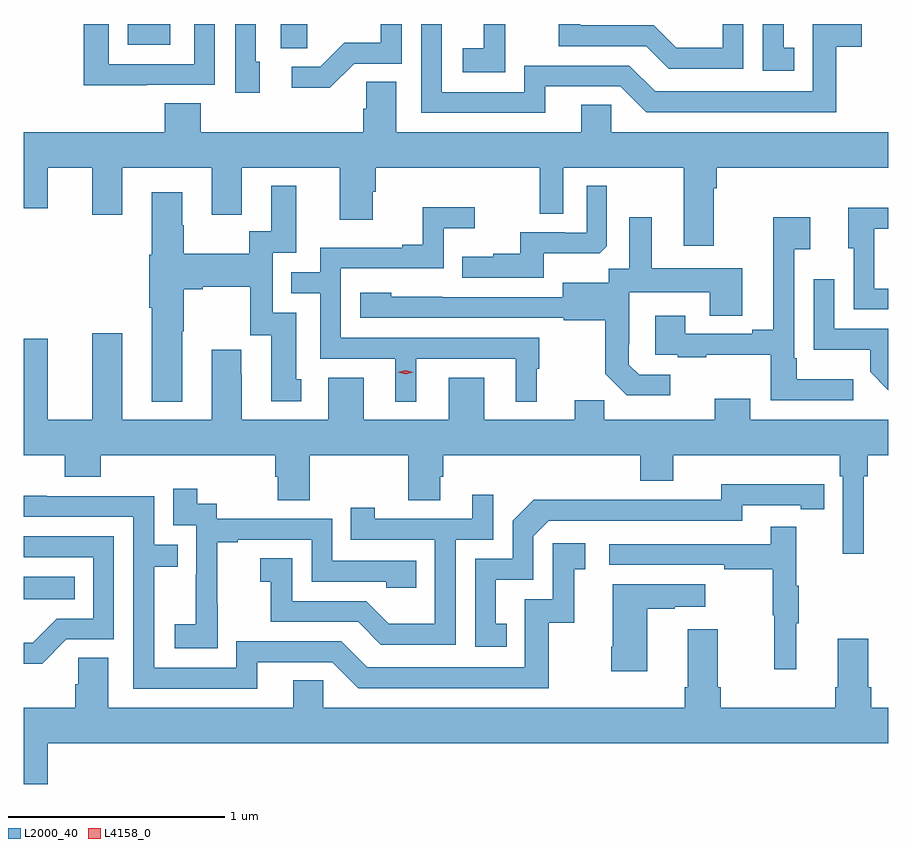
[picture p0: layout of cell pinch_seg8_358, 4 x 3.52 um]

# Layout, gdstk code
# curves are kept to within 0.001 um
import gdstk
lib = gdstk.Library(unit=1e-6, precision=1e-09)
def R(c, l, rs):  # rectangles x0, y0, x1, y1
    for r in rs: c.add(gdstk.rectangle(r[:2], r[2:], *l))
def P(c, l, *ps):  # polygons
    for p in ps: c.add(gdstk.Polygon(p, *l))
L2000_40 = (2000, 40)
L4158_0 = (4158, 0)

pinch_seg8_358 = lib.new_cell('pinch_seg8_358')
R(pinch_seg8_358, L2000_40, [(452.772,1099.85,453.008,1099.954), (453.962,1102.399,454.083,1102.512), (453.254,1102.415,453.451,1102.512)])
P(pinch_seg8_358, L2000_40, [(456.102,1102.512),(456.006,1102.512),(456.006,1102.402),(455.792,1102.402),(455.688,1102.506),(455.346,1102.506),(455.346,1102.512),(455.248,1102.512),(455.248,1102.41),(455.651,1102.41),(455.756,1102.305),(456.102,1102.305)],
  [(454.302,1102.329),(454.521,1102.329),(454.521,1102.512),(454.425,1102.512),(454.425,1102.425),(454.256,1102.425),(454.145,1102.314),(454.011,1102.314),(454.011,1102.217),(454.189,1102.217)],
  [(456.338,1102.401),(456.289,1102.401),(456.289,1102.512),(456.192,1102.512),(456.192,1102.296),(456.338,1102.296)],
  [(455.001,1102.495),(455,1102.495),(455,1102.512),(454.901,1102.512),(454.901,1102.399),(454.803,1102.399),(454.803,1102.289),(455.001,1102.289)],
  [(455.185,1102.224),(455.532,1102.224),(455.652,1102.104),(456.532,1102.104),(456.532,1102.407),(456.65,1102.407),(456.65,1102.512),(456.423,1102.512),(456.423,1102.2),(455.694,1102.2),(455.574,1102.32),(455.088,1102.32),(455.088,1102.197),(454.707,1102.197),(454.707,1102.512),(454.611,1102.512),(454.611,1102.101),(455.185,1102.101)],
  [(453.865,1102.338),(453.846,1102.338),(453.846,1102.512),(453.75,1102.512),(453.75,1102.194),(453.865,1102.194)],
  [(453.341,1102.23),(453.657,1102.23),(453.657,1102.512),(453.561,1102.512),(453.561,1102.326),(453.165,1102.326),(453.165,1102.512),(453.049,1102.512),(453.049,1102.229),(453.341,1102.229)],
  [(455.965,1101.752),(455.978,1101.752),(455.978,1101.848),(456.772,1101.848),(456.772,1102.012),(455.49,1102.012),(455.49,1102.139),(455.351,1102.139),(455.351,1102.012),(454.495,1102.012),(454.495,1102.244),(454.356,1102.244),(454.356,1102.121),(454.343,1102.121),(454.343,1102.012),(453.59,1102.012),(453.59,1102.145),(453.425,1102.145),(453.425,1102.012),(452.772,1102.012),(452.772,1101.66),(452.884,1101.66),(452.884,1101.848),(453.089,1101.848),(453.089,1101.63),(453.229,1101.63),(453.229,1101.848),(453.641,1101.848),(453.641,1101.63),(453.781,1101.63),(453.781,1101.848),(454.235,1101.848),(454.235,1101.606),(454.387,1101.606),(454.387,1101.735),(454.4,1101.735),(454.4,1101.848),(455.16,1101.848),(455.16,1101.634),(455.268,1101.634),(455.268,1101.848),(455.825,1101.848),(455.825,1101.486),(455.965,1101.486)],
  [(455.179,1101.452),(455.437,1101.452),(455.469,1101.483),(455.469,1101.763),(455.376,1101.763),(455.376,1101.546),(455.276,1101.546),(455.276,1101.549),(455.069,1101.549),(455.069,1101.448),(454.945,1101.448),(454.945,1101.436),(454.801,1101.436),(454.801,1101.339),(455.179,1101.339)],
  [(453.505,1101.091),(453.513,1101.091),(453.513,1101.284),(453.601,1101.284),(453.601,1101.296),(453.821,1101.296),(453.821,1101.072),(453.917,1101.072),(453.917,1100.766),(454.057,1100.766),(454.057,1100.868),(454.033,1100.868),(454.033,1101.177),(453.924,1101.177),(453.924,1101.453),(454.033,1101.453),(454.033,1101.763),(453.917,1101.763),(453.917,1101.554),(453.816,1101.554),(453.816,1101.448),(453.513,1101.448),(453.513,1101.582),(453.505,1101.582),(453.505,1101.733),(453.365,1101.733),(453.365,1101.444),(453.353,1101.444),(453.353,1101.2),(453.365,1101.2),(453.365,1100.765),(453.505,1100.765)],
  [(454.588,1100.964),(455.048,1100.964),(455.048,1100.765),(455.146,1100.765),(455.146,1100.916),(455.158,1100.916),(455.158,1101.06),(454.239,1101.06),(454.239,1101.381),(454.716,1101.381),(454.716,1101.566),(454.858,1101.566),(454.858,1101.665),(454.618,1101.665),(454.618,1101.49),(454.523,1101.49),(454.523,1101.477),(454.143,1101.477),(454.143,1101.363),(454.009,1101.363),(454.009,1101.267),(454.143,1101.267),(454.143,1100.964),(454.49,1100.964),(454.49,1100.765),(454.588,1100.765)],
  [(456.772,1101.288),(456.708,1101.288),(456.708,1101.564),(456.772,1101.564),(456.772,1101.662),(456.587,1101.662),(456.587,1101.474),(456.612,1101.474),(456.612,1101.192),(456.772,1101.192)],
  [(455.764,1100.889),(455.619,1100.889),(455.572,1100.936),(455.572,1101.031),(455.574,1101.031),(455.574,1101.272),(455.945,1101.272),(455.945,1101.163),(456.097,1101.163),(456.097,1101.382),(455.677,1101.382),(455.677,1101.619),(455.573,1101.619),(455.573,1101.38),(455.478,1101.38),(455.478,1101.316),(455.267,1101.316),(455.267,1101.249),(454.473,1101.25),(454.473,1101.268),(454.329,1101.268),(454.329,1101.153),(455.271,1101.153),(455.271,1101.141),(455.463,1101.141),(455.463,1100.895),(455.563,1100.795),(455.764,1100.795)],
  [(456.61,1100.869),(456.349,1100.869),(456.349,1100.965),(456.336,1100.965),(456.336,1101.47),(456.412,1101.47),(456.412,1101.619),(456.239,1101.619),(456.239,1101.097),(456.143,1101.097),(456.143,1101.078),(455.833,1101.078),(455.833,1101.163),(455.693,1101.163),(455.693,1100.982),(455.797,1100.982),(455.797,1100.97),(455.929,1100.97),(455.929,1100.981),(456.228,1100.981),(456.228,1100.772),(456.61,1100.772)],
  [(456.772,1101.102),(456.522,1101.102),(456.522,1101.331),(456.426,1101.331),(456.426,1101.005),(456.688,1101.005),(456.688,1100.903),(456.772,1100.818)],
  [(455.969,1100.779),(455.969,1100.68),(455.459,1100.68),(455.459,1100.771),(455.321,1100.771),(455.321,1100.68),(454.903,1100.68),(454.903,1100.875),(454.739,1100.875),(454.739,1100.68),(454.345,1100.68),(454.345,1100.875),(454.181,1100.875),(454.181,1100.68),(453.781,1100.68),(453.781,1100.891),(453.778,1100.891),(453.778,1101.004),(453.641,1101.004),(453.641,1100.68),(453.229,1100.68),(453.229,1101.082),(453.089,1101.082),(453.089,1100.68),(452.884,1100.68),(452.884,1101.055),(452.772,1101.055),(452.772,1100.516),(452.963,1100.516),(452.963,1100.417),(453.128,1100.417),(453.128,1100.516),(453.935,1100.516),(453.935,1100.418),(453.947,1100.418),(453.947,1100.308),(454.095,1100.308),(454.095,1100.516),(454.552,1100.516),(454.552,1100.308),(454.699,1100.308),(454.699,1100.418),(454.712,1100.418),(454.712,1100.516),(455.624,1100.516),(455.624,1100.399),(455.776,1100.399),(455.776,1100.516),(456.548,1100.516),(456.548,1100.42),(456.561,1100.42),(456.561,1100.061),(456.658,1100.061),(456.658,1100.42),(456.677,1100.42),(456.677,1100.516),(456.772,1100.516),(456.772,1100.68),(456.133,1100.68),(456.133,1100.779)],
  [(455.006,1099.737),(454.957,1099.737),(454.957,1099.941),(455.13,1099.941),(455.13,1100.142),(455.202,1100.214),(456.096,1100.214),(456.096,1100.286),(456.368,1100.286),(456.368,1100.266),(456.476,1100.266),(456.476,1100.382),(456,1100.383),(456,1100.31),(455.54,1100.31),(455.54,1100.312),(455.132,1100.312),(455.034,1100.214),(455.034,1100.037),(454.86,1100.037),(454.86,1099.632),(455.006,1099.632)],
  [(453.669,1099.831),(453.668,1099.831),(453.668,1100.115),(453.763,1100.115),(453.763,1100.127),(454.104,1100.127),(454.104,1099.932),(454.449,1099.932),(454.449,1099.905),(454.589,1099.905),(454.589,1100.028),(454.2,1100.028),(454.2,1100.223),(453.666,1100.223),(453.666,1100.292),(453.574,1100.292),(453.574,1100.362),(453.465,1100.362),(453.465,1100.193),(453.57,1100.193),(453.57,1099.964),(453.569,1099.964),(453.569,1099.735),(453.471,1099.735),(453.471,1099.625),(453.669,1099.625)],
  [(454.77,1100.127),(454.944,1100.127),(454.944,1100.335),(454.847,1100.335),(454.847,1100.223),(454.396,1100.223),(454.396,1100.275),(454.285,1100.275),(454.285,1100.127),(454.674,1100.127),(454.674,1099.738),(454.46,1099.738),(454.356,1099.842),(454.014,1099.842),(454.014,1100.041),(453.867,1100.041),(453.867,1099.931),(453.916,1099.931),(453.916,1099.746),(454.319,1099.746),(454.424,1099.641),(454.77,1099.641)],
  [(453.853,1099.56),(454.2,1099.56),(454.32,1099.44),(455.2,1099.44),(455.2,1099.743),(455.318,1099.743),(455.318,1099.989),(455.371,1099.989),(455.371,1100.11),(455.22,1100.11),(455.22,1099.851),(455.091,1099.851),(455.091,1099.536),(454.362,1099.536),(454.242,1099.656),(453.756,1099.656),(453.756,1099.533),(453.375,1099.533),(453.375,1100.002),(453.485,1100.002),(453.485,1100.103),(453.375,1100.103),(453.375,1100.328),(452.879,1100.328),(452.879,1100.33),(452.772,1100.33),(452.772,1100.232),(453.279,1100.232),(453.279,1099.437),(453.853,1099.437)],
  [(456.347,1099.739),(456.358,1099.739),(456.358,1099.913),(456.347,1099.913),(456.347,1100.185),(456.229,1100.185),(456.229,1100.106),(455.481,1100.106),(455.481,1100.01),(456.013,1100.01),(456.013,1099.99),(456.237,1099.99),(456.237,1099.776),(456.244,1099.776),(456.244,1099.527),(456.347,1099.527)],
  [(452.97,1099.665),(453.189,1099.665),(453.189,1100.142),(452.772,1100.142),(452.772,1100.046),(453.093,1100.046),(453.093,1099.761),(452.924,1099.761),(452.813,1099.65),(452.772,1099.65),(452.772,1099.553),(452.857,1099.553)],
  [(455.656,1099.807),(455.783,1099.807),(455.783,1099.817),(455.926,1099.817),(455.926,1099.921),(455.498,1099.921),(455.498,1099.63),(455.491,1099.63),(455.491,1099.518),(455.656,1099.518)],
  [(452.884,1099.184),(456.772,1099.184),(456.772,1099.348),(456.692,1099.348),(456.692,1099.444),(456.679,1099.444),(456.679,1099.669),(456.539,1099.669),(456.539,1099.444),(456.527,1099.444),(456.527,1099.348),(455.996,1099.348),(455.996,1099.444),(455.983,1099.444),(455.983,1099.711),(455.843,1099.711),(455.843,1099.444),(455.831,1099.444),(455.831,1099.348),(454.158,1099.348),(454.158,1099.475),(454.019,1099.475),(454.019,1099.348),(453.163,1099.348),(453.163,1099.58),(453.024,1099.58),(453.024,1099.457),(453.011,1099.457),(453.011,1099.348),(452.772,1099.348),(452.772,1098.996),(452.884,1098.996)])
P(pinch_seg8_358, L4158_0, [(454.539,1100.891),(454.503,1100.901),(454.503,1100.901),(454.503,1100.901),(454.539,1100.911),(454.575,1100.901),(454.575,1100.901),(454.575,1100.901)])

lib.write_gds('pinch_seg8_358.gds')
